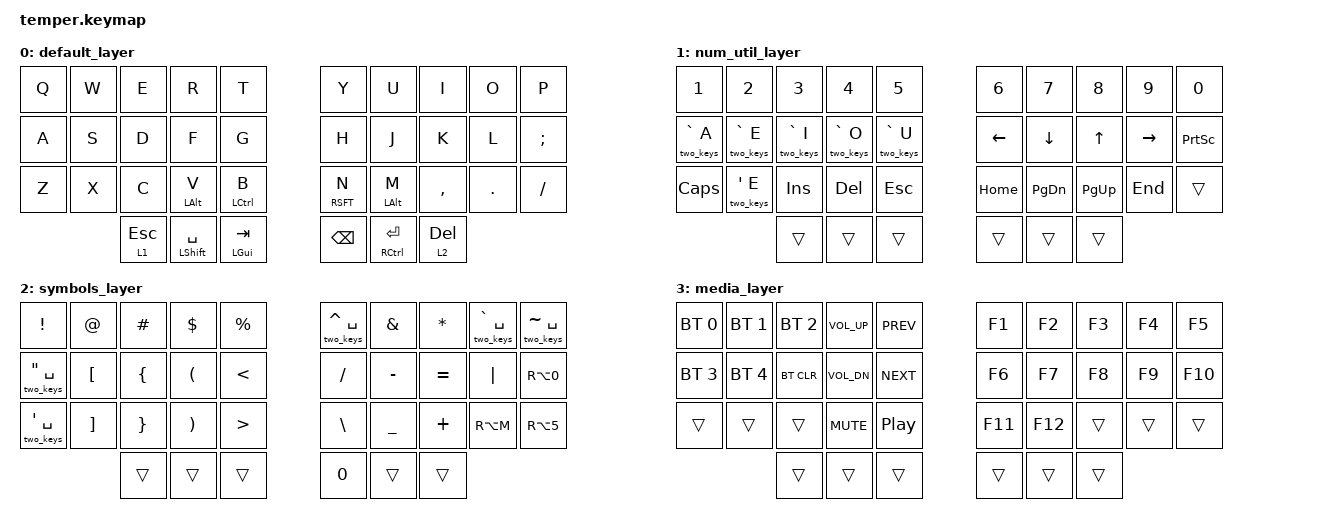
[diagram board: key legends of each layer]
/*
 * Copyright (c) 2020 The ZMK Contributors
 *
 * SPDX-License-Identifier: MIT
 */

#include <behaviors.dtsi>
#include <dt-bindings/zmk/keys.h>
#include <dt-bindings/zmk/bt.h>
#include <dt-bindings/zmk/outputs.h>

#define DEFAULT 0
#define NUM_UTIL 1
#define SYMBOLS 2
#define MEDIA 3

#define MT_SHF_SPC &my_hold_tap LSHFT SPACE
#define MT_LALT_V &my_hold_tap LALT V
#define MT_LCTL_B &my_hold_tap LCTL B
#define MT_RSFT_N &my_hold_tap RSFT N
#define MT_LALT_M &my_hold_tap LALT M
#define MT_CTL_RET &mt RCTRL RET
#define MT_GUI_TAB &mt LGUI TAB

#define US_MICRO RA(M)
#define US_EURO RA(N5)
#define US_DEG RA(N0)

#define _GRAVE &two_keys GRAVE SPACE
#define _APOS &two_keys APOS SPACE
#define _TILDE &two_keys TILDE SPACE
#define _DQT &two_keys DQT SPACE
#define _CARET &two_keys CARET SPACE

#define E_ACU &two_keys APOS E
#define E_GRAV &two_keys GRAVE E
#define A_GRAV &two_keys GRAVE A
#define I_GRAV &two_keys GRAVE I
#define O_GRAV &two_keys GRAVE O
#define U_GRAV &two_keys GRAVE U

/ {
    conditional_layers {
        compatible = "zmk,conditional-layers";
        tri_layer {
            if-layers = <NUM_UTIL SYMBOLS>;
            then-layer = <MEDIA>;
        };
    };
    macros {
        two_keys: two_keys {
            compatible = "zmk,behavior-macro-two-param";
            #binding-cells = <2>;
            bindings
                = <&macro_param_1to1>, <&kp MACRO_PLACEHOLDER>
                , <&macro_param_2to1>, <&kp MACRO_PLACEHOLDER>
                ;
        };
    };
    behaviors {
        my_hold_tap: my_hold_tap {
            compatible = "zmk,behavior-hold-tap";
            #binding-cells = <2>;
            tapping-term-ms = <200>;
            quick-tap-ms = <100>;
            flavor = "balanced";
            bindings = <&kp>, <&kp>;
        };
    };
        keymap {
                compatible = "zmk,keymap";

                default_layer {
                        bindings = <
// ╭─────────────┬─────────────┬─────────────┬─────────────┬─────────────╮   ╭─────────────┬─────────────┬─────────────┬─────────────┬─────────────╮
        &kp Q         &kp W         &kp E         &kp R         &kp T             &kp Y         &kp U         &kp I         &kp O         &kp P
// ├─────────────┼─────────────┼─────────────┼─────────────┼─────────────┤   ├─────────────┼─────────────┼─────────────┼─────────────┼─────────────┤
        &kp A         &kp S         &kp D         &kp F         &kp G             &kp H         &kp J         &kp K         &kp L       &kp SEMI
// ├─────────────┼─────────────┼─────────────┼─────────────┼─────────────┤   ├─────────────┼─────────────┼─────────────┼─────────────┼─────────────┤
        &kp Z         &kp X         &kp C       MT_LALT_V     MT_LCTL_B         MT_RSFT_N    MT_LALT_M      &kp COMMA      &kp DOT      &kp FSLH
// ╰─────────────┴─────────────┼─────────────┼─────────────┼─────────────┤   ├─────────────┼─────────────┼─────────────┼─────────────┴─────────────╯
                                  &lt 1 ESC    MT_SHF_SPC   MT_GUI_TAB        &kp BACKSPACE   MT_CTL_RET    &lt 2 DEL
//                             ╰─────────────┴─────────────┴─────────────╯   ╰─────────────┴─────────────┴─────────────╯
                        >;
                };
                num_util_layer {
                        bindings = <
// ╭─────────────┬─────────────┬─────────────┬─────────────┬─────────────╮   ╭─────────────┬─────────────┬─────────────┬─────────────┬─────────────╮
        &kp N1       &kp N2         &kp N3       &kp N4        &kp N5             &kp N6       &kp N7        &kp N8        &kp N9        &kp N0
// ├─────────────┼─────────────┼─────────────┼─────────────┼─────────────┤   ├─────────────┼─────────────┼─────────────┼─────────────┼─────────────┤
       A_GRAV        E_GRAV        I_GRAV        O_GRAV        U_GRAV           &kp LEFT       &kp DOWN      &kp UP        &kp RIGHT    &kp PSCRN
// ├─────────────┼─────────────┼─────────────┼─────────────┼─────────────┤   ├─────────────┼─────────────┼─────────────┼─────────────┼─────────────┤
      &kp CAPS       E_ACU          &kp INS       &kp DEL       &kp ESC          &kp HOME      &kp PG_DN     &kp PG_UP      &kp END       &trans
// ╰─────────────┴─────────────┼─────────────┼─────────────┼─────────────┤   ├─────────────┼─────────────┼─────────────┼─────────────┴─────────────╯
                                    &trans        &trans        &trans             &trans       &trans        &trans
//                             ╰─────────────┴─────────────┴─────────────╯   ╰─────────────┴─────────────┴─────────────╯
                        >;
                };
                symbols_layer {
                        bindings = <
// ╭─────────────┬─────────────┬─────────────┬─────────────┬─────────────╮   ╭─────────────┬─────────────┬─────────────┬─────────────┬─────────────╮
      &kp EXCL       &kp AT       &kp HASH      &kp DLLR      &kp PRCNT          _CARET      &kp AMPS      &kp STAR      _GRAVE        _TILDE
// ├─────────────┼─────────────┼─────────────┼─────────────┼─────────────┤   ├─────────────┼─────────────┼─────────────┼─────────────┼─────────────┤
        _DQT        &kp LBKT      &kp LBRC      &kp LPAR       &kp LT           &kp FSLH      &kp MINUS     &kp EQUAL     &kp PIPE      &kp US_DEG
// ├─────────────┼─────────────┼─────────────┼─────────────┼─────────────┤   ├─────────────┼─────────────┼─────────────┼─────────────┼─────────────┤
       _APOS        &kp RBKT      &kp RBRC      &kp RPAR       &kp GT           &kp BSLH      &kp UNDER     &kp PLUS     &kp US_MICRO  &kp US_EURO
// ╰─────────────┴─────────────┼─────────────┼─────────────┼─────────────┤   ├─────────────┼─────────────┼─────────────┼─────────────┴─────────────╯
                                    &trans        &trans       &trans           &kp N0        &trans        &trans
//                             ╰─────────────┴─────────────┴─────────────╯   ╰─────────────┴─────────────┴─────────────╯
                        >;
                };

                media_layer {
                        bindings = <
// ╭─────────────┬─────────────┬─────────────┬─────────────┬─────────────╮   ╭─────────────┬─────────────┬─────────────┬─────────────┬─────────────╮
    &bt BT_SEL 0  &bt BT_SEL 1   &bt BT_SEL 2  &kp C_VOL_UP   &kp C_PREV          &kp F1        &kp F2        &kp F3        &kp F4        &kp F5
// ├─────────────┼─────────────┼─────────────┼─────────────┼─────────────┤   ├─────────────┼─────────────┼─────────────┼─────────────┼─────────────┤
    &bt BT_SEL 3  &bt BT_SEL 4   &bt BT_CLR    &kp C_VOL_DN   &kp C_NEXT          &kp F6        &kp F7        &kp F8        &kp F9        &kp F10
// ├─────────────┼─────────────┼─────────────┼─────────────┼─────────────┤   ├─────────────┼─────────────┼─────────────┼─────────────┼─────────────┤
        &trans        &trans       &trans       &kp C_MUTE    &kp C_PP           &kp F11       &kp F12       &trans        &trans        &trans
// ╰─────────────┴─────────────┼─────────────┼─────────────┼─────────────┤   ├─────────────┼─────────────┼─────────────┼─────────────┴─────────────╯
                                   &trans        &trans        &trans             &trans        &trans        &trans
//                             ╰─────────────┴─────────────┴─────────────╯   ╰─────────────┴─────────────┴─────────────╯
                        >;
                };
        };
};
